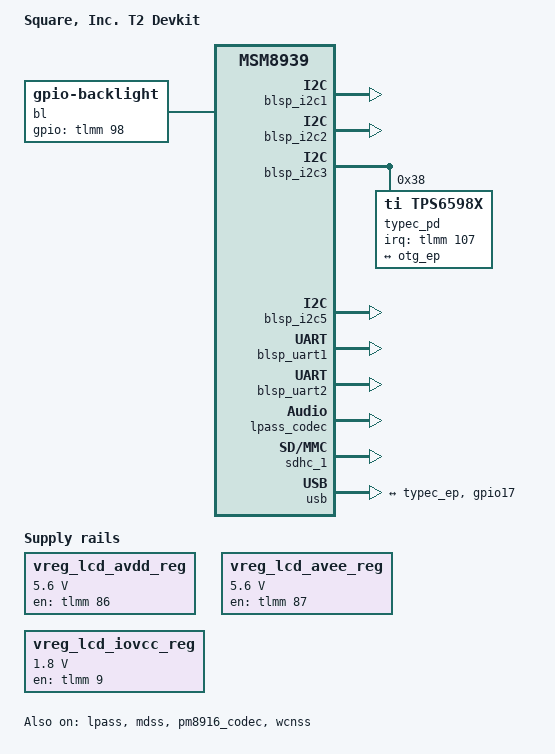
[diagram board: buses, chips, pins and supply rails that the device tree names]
// SPDX-License-Identifier: GPL-2.0
/*
 * Copyright (c) 2015, The Linux Foundation. All rights reserved.
 * Copyright (c) 2020-2023, Linaro Ltd.
 *
 */

/dts-v1/;

#include "msm8939.dtsi"
#include "msm8939-pm8916.dtsi"
#include <dt-bindings/arm/qcom,ids.h>
#include <dt-bindings/gpio/gpio.h>
#include <dt-bindings/pinctrl/qcom,pmic-gpio.h>
#include <dt-bindings/sound/apq8016-lpass.h>

/ {
	model = "Square, Inc. T2 Devkit";
	compatible = "square,apq8039-t2", "qcom,msm8939";

	qcom,board-id = <0x53 0x54>;
	qcom,msm-id = <QCOM_ID_APQ8039 0x30000>;

	aliases {
		mmc0 = &sdhc_1;
		mmc1 = &sdhc_2;
		serial0 = &blsp_uart1;
		serial1 = &blsp_uart2;
	};

	bl: backlight {
		compatible = "gpio-backlight";
		pinctrl-0 = <&pinctrl_backlight>;
		pinctrl-names = "default";
		gpios = <&tlmm 98 GPIO_ACTIVE_HIGH>;
	};

	chosen {
		stdout-path = "serial1:115200n8";
	};

	vreg_lcd_avdd_reg: lcd-avdd-regulator {
		compatible = "regulator-fixed";
		regulator-name = "lcd_avdd";
		regulator-min-microvolt = <5600000>;
		regulator-max-microvolt = <5600000>;
		pinctrl-0 = <&pinctrl_lcd_avdd_reg>;
		pinctrl-names = "default";
		gpio = <&tlmm 86 GPIO_ACTIVE_HIGH>;
		startup-delay-us = <300>;
		enable-active-high;
	};

	vreg_lcd_avee_reg: lcd-avee-regulator {
		compatible = "regulator-fixed";
		regulator-name = "lcd_avee";
		regulator-min-microvolt = <5600000>;
		regulator-max-microvolt = <5600000>;
		pinctrl-0 = <&pinctrl_lcd_avee_reg>;
		pinctrl-names = "default";
		gpio = <&tlmm 87 GPIO_ACTIVE_HIGH>;
		startup-delay-us = <300>;
		enable-active-high;
	};

	vreg_lcd_iovcc_reg: lcd-iovcc-regulator {
		compatible = "regulator-fixed";
		regulator-name = "lcd_iovcc";
		regulator-min-microvolt = <1800000>;
		regulator-max-microvolt = <1800000>;
		pinctrl-0 = <&pinctrl_lcd_iovcc_reg>;
		pinctrl-names = "default";
		gpio = <&tlmm 9 GPIO_ACTIVE_HIGH>;
		startup-delay-us = <300>;
		enable-active-high;
	};
};

&blsp_i2c1 {
	status = "okay";
};

&blsp_i2c2 {
	status = "okay";
};

&blsp_i2c3 {
	status = "okay";

	typec_pd: usb-pd@38 {
		compatible = "ti,tps6598x";
		reg = <0x38>;

		interrupt-parent = <&tlmm>;
		interrupts = <107 IRQ_TYPE_LEVEL_LOW>;
		interrupt-names = "irq";

		pinctrl-names = "default";
		pinctrl-0 = <&typec_irq>;

		typec_con: connector {
			compatible = "usb-c-connector";
			label = "USB-C";

			port {
				typec_ep: endpoint {
					remote-endpoint = <&otg_ep>;
				};
			};
		};
	};
};

&blsp_i2c5 {
	status = "okay";
};

&blsp_uart1 {
	status = "okay";
};

&blsp_uart1_default {
	pins = "gpio0", "gpio1";
};

&blsp_uart1_sleep {
	pins = "gpio0", "gpio1";
};

&blsp_uart2 {
	status = "okay";
};

&lpass {
	status = "okay";
};

&lpass_codec {
	status = "okay";
};

&mdss {
	status = "okay";
};

&pm8916_codec {
	qcom,hphl-jack-type-normally-open;
	qcom,mbhc-vthreshold-low = <75 150 237 450 500>;
	qcom,mbhc-vthreshold-high = <75 150 237 450 500>;
	status = "okay";
};

&pm8916_gpios {
	gpio-line-names =
		"PM_GPIO1",     /* WIFI_GPIO1_PRE */
		"PM_GPIO2",     /* WIFI_GPIO2_PRE */
		"PM_GPIO3",
		"PM_GPIO4";
};

&sdhc_1 {
	status = "okay";
};

&sound {
	model = "apq8039-square-sndcard";
	audio-routing = "AMIC2", "MIC BIAS Internal2";
	pinctrl-names = "default", "sleep";
	pinctrl-0 = <&cdc_pdm_default>;
	pinctrl-1 = <&cdc_pdm_sleep>;

	internal-codec-playback-dai-link {
		link-name = "WCD";
		cpu {
			sound-dai = <&lpass MI2S_PRIMARY>;
		};
		codec {
			sound-dai = <&lpass_codec 0>, <&pm8916_codec 0>;
		};
	};

	internal-codec-capture-dai-link {
		link-name = "WCD-Capture";
		cpu {
			sound-dai = <&lpass MI2S_TERTIARY>;
		};
		codec {
			sound-dai = <&lpass_codec 1>, <&pm8916_codec 1>;
		};
	};
};

/*
 * Line names are taken from the schematic of T2, Ver X03.
 * July 14, 2018. Page 4 in particular.
 */
&tlmm {
	gpio-line-names =
		"APQ_UART1_TX",		/* GPIO_0 */
		"APQ_UART1_RX",
		"APQ_I2C1_SDA",
		"APQ_I2C1_SCL",
		"APQ_UART2_TX_1V8",
		"APQ_UART2_RX_1V8",
		"APQ_I2C2_SDA",
		"APQ_I2C2_SCL",
		"NC",
		"APQ_LCD_IOVCC_EN",
		"APQ_I2C3_SDA",		/* GPIO_10 */
		"APQ_I2C3_SCL",
		"TOUCH_RST_1V8_L",
		"NC",
		"APQ_I2C4_SDA",
		"APQ_I2C4_SCL",
		"APQ_ID5",
		"USB_DISCONNECT",
		"APQ_I2C5_SDA",
		"APQ_I2C5_SCL",
		"APQ_USBC_SPI_MOSI",	/* GPIO_20 */
		"APQ_USBC_SPI_MISO",
		"APQ_USBC_SPI_SS_L",
		"APQ_USBC_SPI_CLK",
		"APQ_LCD_TE0",
		"APQ_LCD_RST_L",
		"NC",
		"NC",
		"ACCELEROMETER_INT1",
		"APQ_CAM_I2C0_SDA",
		"APQ_CAM_I2C0_SCL",	/* GPIO_30 */
		"ACCELEROMETER_INT2",
		"NC",
		"NC",
		"NC",
		"APQ_K21_RST_1V8_L",
		"NC",
		"APQ_EDL_1V8",
		"TP145",
		"BT_SSBI",
		"NC",			/* GPIO_40 */
		"NC",
		"NC",
		"NC",
		"NC",
		"NC",
		"NC",
		"BT_CTRL",
		"BT_DAT",
		"PWR_GPIO_IN",
		"PWR_GPIO_OUT",		/* GPIO_50 */
		"CARD_DET_MLB_L",
		"HALL_SENSOR",
		"TP63",
		"TP64",
		"TP65",
		"NC",
		"NC",
		"NC",
		"NC",
		"NC",			/* GPIO_60 */
		"NC",
		"APQ_K21_GPIO0_1V8",
		"CDC_PDM_CLK",
		"CDC_PDM_SYNC",
		"CDC_PDM_TX",
		"CDC_PDM_RX0",
		"CDC_PDM_RX1",
		"CDC_PDM_RX2",
		"APQ_K21_GPIO1_1V8",
		"NC",			/* GPIO_70 */
		"APQ_HUB_SEL_1V8",
		"APQ_K21_GPIO2_1V8",
		"APQ_K21_GPIO3_1V8",
		"APQ_ID0",
		"APQ_ID1",
		"APQ_ID2",
		"APQ_ID3",
		"APQ_ID4",
		"APQ_HUB_SUSP_IND",
		"BOOT_CONFIG_0",	/* GPIO_80 */
		"BOOT_CONFIG_1",
		"BOOT_CONFIG_2",
		"BOOT_CONFIG_3",
		"NC",
		"NC",
		"APQ_LCD_AVDD_EN",
		"APQ_LCD_AVEE_EN",
		"TP70",
		"NC",
		"APQ_DEBUG0",		/* GPIO_90 */
		"APQ_DEBUG1",
		"APQ_DEBUG2",
		"APQ_DEBUG3",
		"TP165",
		"NC",
		"APQ_LNA_PWR_EN",
		"NC",
		"APQ_LCD_BL_EN",
		"NC",
		"APQ_LCD_ID0",		/* GPIO_100 */
		"APQ_LCD_ID1",
		"USBC_GPIO5_1V8",
		"NC",
		"NC",
		"NC",
		"APQ_HUB_RST_1V8_L",
		"USBC_I2C_IRQ_1V8_L",
		"SPE_PWR_EN",
		"NC",
		"APQ_USB_ID",		/* GPIO_110 */
		"APQ_EXT_BUCK_VSEL",
		"APQ_USB_ID_OUT",
		"NC",
		"PRNT_RST_L",
		"APQ_CRQ_I2C_RDY_1V8",
		"TYPEC_RST_1V8_H",
		"CHG_BACKPWR_EN",
		"CHG_PROCHOT_L",
		"NC",
		"USBC_GPIO7_1V8",	/* GPIO_120 */
		"NC";

	pinctrl_backlight: backlight-state {
		pins = "gpio98";
		function = "gpio";
	};

	pinctrl_lcd_avdd_reg: lcd-avdd-reg-state {
		pins = "gpio86";
		function = "gpio";
	};

	pinctrl_lcd_avee_reg: lcd-avee-reg-state {
		pins = "gpio87";
		function = "gpio";
	};

	pinctrl_lcd_iovcc_reg: lcd-iovcc-reg-state {
		pins = "gpio9";
		function = "gpio";
	};

	pinctrl_lcd_rst: lcd-rst-state {
		pins = "gpio25";
		function = "gpio";
	};

	pinctrl_otg_default: otg-default-state {
		function = "gpio";
		pins = "gpio17";
		output-high;
	};

	pinctrl_otg_device: otg-device-state {
		function = "gpio";
		pins = "gpio17";
		output-low;
	};

	pinctrl_otg_host: otg-host-state {
		function = "gpio";
		pins = "gpio17";
		output-low;
	};

	typec_irq: typec-irq-state {
		function = "gpio";
		pins = "gpio107";
		bias-pull-up;
		input-enable;
	};
};

&usb {
	pinctrl-names = "default", "host", "device";
	pinctrl-0 = <&pinctrl_otg_default>;
	pinctrl-1 = <&pinctrl_otg_host>;
	pinctrl-2 = <&pinctrl_otg_device>;
	pin-switch-delay-us = <100000>;
	usb-role-switch;
	status = "okay";

	port {
		otg_ep: endpoint {
			remote-endpoint = <&typec_ep>;
		};
	};
};

&wcnss {
	status = "okay";
};

&wcnss_iris {
	compatible = "qcom,wcn3680";
};
